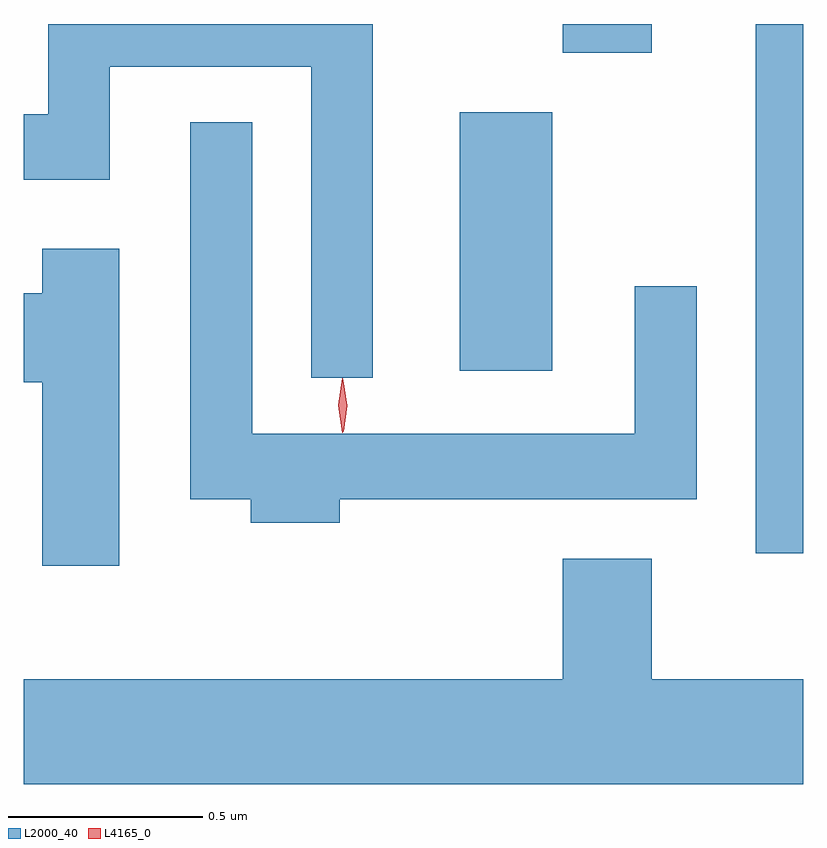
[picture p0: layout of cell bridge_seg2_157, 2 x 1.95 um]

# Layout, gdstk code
import gdstk
lib = gdstk.Library(unit=1e-6, precision=1e-09)
def R(c, l, rs):  # rectangles x0, y0, x1, y1
    for r in rs: c.add(gdstk.rectangle(r[:2], r[2:], *l))
def P(c, l, *ps):  # polygons
    for p in ps: c.add(gdstk.Polygon(p, *l))
L2000_40 = (2000, 40)
L4165_0 = (4165, 0)

bridge_seg2_157 = lib.new_cell('bridge_seg2_157')
R(bridge_seg2_157, L2000_40, [(1069.606,1104.408,1069.728,1105.765), (1068.846,1104.876,1069.084,1105.539), (1069.111,1105.691,1069.339,1105.765)])
P(bridge_seg2_157, L2000_40, [(1068.624,1105.765),(1067.791,1105.765),(1067.791,1105.534),(1067.728,1105.534),(1067.728,1105.366),(1067.949,1105.366),(1067.949,1105.656),(1068.466,1105.656),(1068.466,1104.858),(1068.624,1104.858)],
  [(1068.539,1104.546),(1069.454,1104.546),(1069.454,1105.093),(1069.296,1105.093),(1069.296,1104.714),(1068.314,1104.714),(1068.314,1105.513),(1068.156,1105.513),(1068.156,1104.546),(1068.311,1104.546),(1068.311,1104.486),(1068.539,1104.486)],
  [(1067.974,1105.189),(1067.776,1105.189),(1067.776,1105.074),(1067.728,1105.074),(1067.728,1104.846),(1067.776,1104.846),(1067.776,1104.376),(1067.974,1104.376)],
  [(1069.728,1104.084),(1069.339,1104.084),(1069.339,1104.394),(1069.111,1104.394),(1069.111,1104.084),(1067.728,1104.084),(1067.728,1103.816),(1069.728,1103.816)])
P(bridge_seg2_157, L4165_0, [(1068.545,1104.717),(1068.545,1104.717),(1068.535,1104.787),(1068.545,1104.856),(1068.545,1104.856),(1068.546,1104.856),(1068.555,1104.787),(1068.546,1104.717)],
  [(1068.548,1104.719),(1068.548,1104.72),(1068.538,1104.786),(1068.548,1104.852),(1068.548,1104.853),(1068.548,1104.852),(1068.558,1104.786),(1068.549,1104.72)])

lib.write_gds('bridge_seg2_157.gds')
